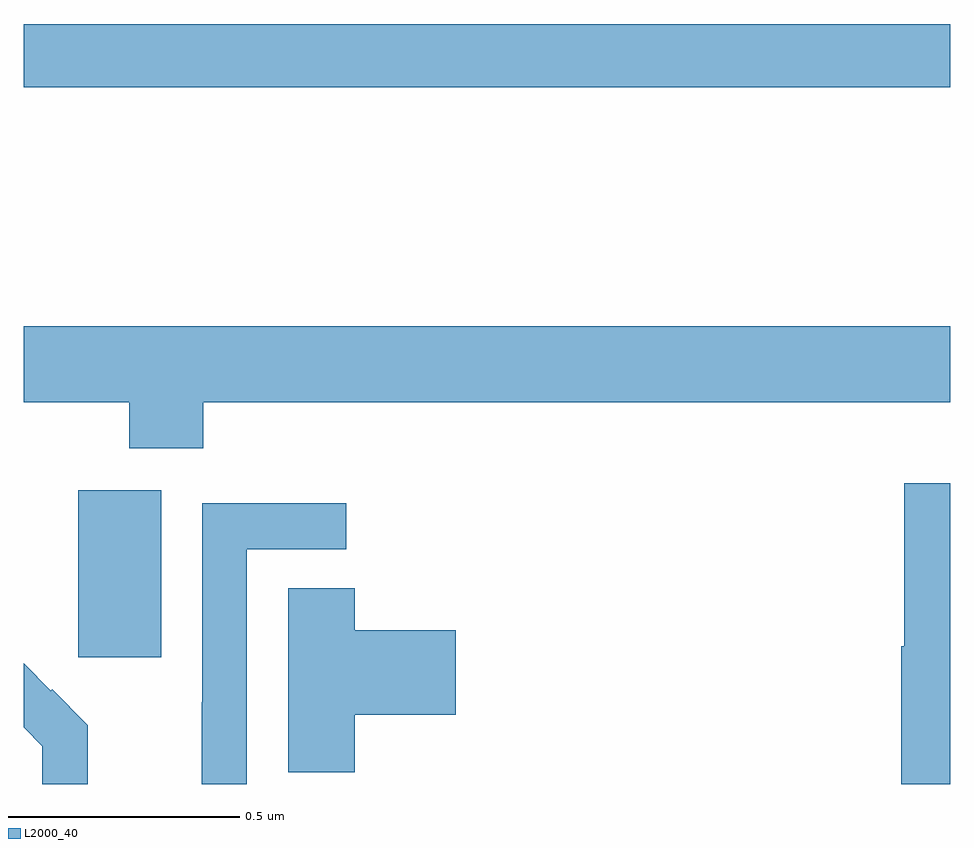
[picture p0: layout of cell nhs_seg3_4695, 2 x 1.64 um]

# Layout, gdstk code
import gdstk
lib = gdstk.Library(unit=1e-6, precision=1e-09)
def R(c, l, rs):  # rectangles x0, y0, x1, y1
    for r in rs: c.add(gdstk.rectangle(r[:2], r[2:], *l))
def P(c, l, *ps):  # polygons
    for p in ps: c.add(gdstk.Polygon(p, *l))
L2000_40 = (2000, 40)

nhs_seg3_4695 = lib.new_cell('nhs_seg3_4695')
R(nhs_seg3_4695, L2000_40, [(169.118,725.673,169.297,726.034), (169,726.904,171,727.04)])
P(nhs_seg3_4695, L2000_40, [(169.388,726.224),(171,726.224),(171,726.388),(169,726.388),(169,726.224),(169.228,726.224),(169.228,726.125),(169.388,726.125)],
  [(171,726.049),(170.9,726.049),(170.9,725.697),(170.894,725.697),(170.894,725.4),(171,725.4)],
  [(169.482,725.907),(169.696,725.907),(169.696,726.006),(169.386,726.006),(169.386,725.576),(169.384,725.576),(169.384,725.4),(169.482,725.4)],
  [(169.715,725.549),(169.933,725.549),(169.933,725.732),(169.715,725.732),(169.715,725.822),(169.571,725.822),(169.571,725.425),(169.715,725.425)],
  [(169.139,725.527),(169.062,725.604),(169.059,725.601),(169,725.661),(169,725.522),(169.04,725.482),(169.04,725.4),(169.139,725.4)])

lib.write_gds('nhs_seg3_4695.gds')
